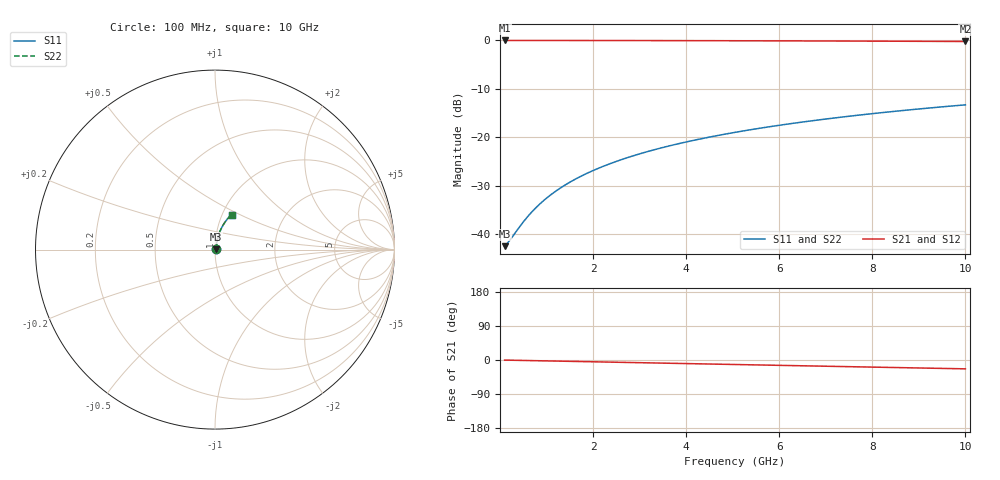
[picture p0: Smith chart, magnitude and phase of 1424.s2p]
# Hz S RI R 50.00
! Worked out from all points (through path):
!   100 points, 100 MHz to 10 GHz, reference 50 ohm
!   highest |S21| = -0.06 dB at 100 MHz (marker M1); lowest = -0.3 dB at 10 GHz (marker M2)
!   group delay of S21, straight-line fit = 6.49 ps
!   lowest |S11| = -42.4 dB at 100 MHz (marker M3), VSWR 1.02, Z = 50.7 + j0.225 ohm
!   |S11| at or under -10 dB: start of sweep to end of sweep
!   |S22| runs from -42.4 to -13.3 dB; largest |S21 - S12| = 0
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1e8  0.00725 0.00222  0.9927 -0.00409  0.9927 -0.00409  0.00725 0.00222
2e8  0.00733 0.00443  0.9927 -0.00818  0.9927 -0.00818  0.00733 0.00443
4e8  0.0075 0.00886  0.9925 -0.0164  0.9925 -0.0164  0.0075 0.00886
5e8  0.0076 0.0111  0.9923 -0.0204  0.9923 -0.0204  0.0076 0.0111
6e8  0.00772 0.0133  0.9922 -0.0245  0.9922 -0.0245  0.00772 0.0133
7e8  0.00786 0.0155  0.992 -0.0286  0.992 -0.0286  0.00786 0.0155
9e8  0.00819 0.0199  0.9917 -0.0368  0.9917 -0.0368  0.00819 0.0199
1.1e9  0.00858 0.0243  0.9912 -0.0449  0.9912 -0.0449  0.00858 0.0243
1.3e9  0.00904 0.0287  0.9906 -0.0531  0.9906 -0.0531  0.00904 0.0287
1.5e9  0.00958 0.0331  0.99 -0.0612  0.99 -0.0612  0.00958 0.0331
1.8e9  0.0105 0.0397  0.9889 -0.0734  0.9889 -0.0734  0.0105 0.0397
2.1e9  0.0116 0.0462  0.9876 -0.0856  0.9876 -0.0856  0.0116 0.0462
2.5e9  0.0133 0.0549  0.9856 -0.1018  0.9856 -0.1018  0.0133 0.0549
2.9e9  0.0153 0.0635  0.9832 -0.1179  0.9832 -0.1179  0.0153 0.0635
3.4e9  0.0181 0.0742  0.9797 -0.138  0.9797 -0.138  0.0181 0.0742
4.2e9  0.0236 0.0909  0.9732 -0.1697  0.9732 -0.1697  0.0236 0.0909
5.1e9  0.0311 0.1092  0.9642 -0.205  0.9642 -0.205  0.0311 0.1092
5.9e9  0.0388 0.1249  0.9549 -0.2358  0.9549 -0.2358  0.0388 0.1249
6.7e9  0.0474 0.1401  0.9445 -0.2661  0.9445 -0.2661  0.0474 0.1401
7.5e9  0.057 0.1546  0.9328 -0.2957  0.9328 -0.2957  0.057 0.1546
8.4e9  0.0689 0.17  0.9183 -0.3282  0.9183 -0.3282  0.0689 0.17
1e10  0.0924 0.1951  0.8894 -0.3836  0.8894 -0.3836  0.0924 0.1951
